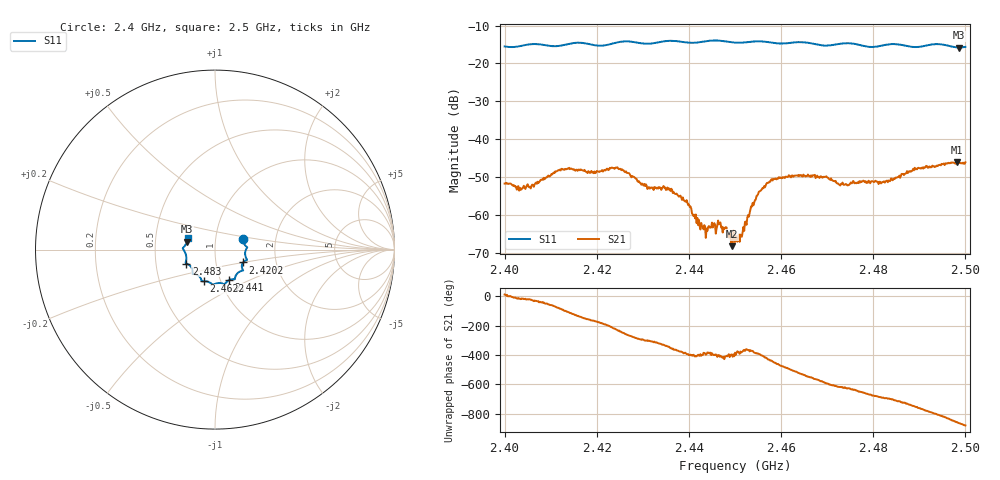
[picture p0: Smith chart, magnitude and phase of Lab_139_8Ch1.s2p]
# Hz S RI R 50
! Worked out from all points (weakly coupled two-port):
!   601 points, 2.4 GHz to 2.5 GHz, reference 50 ohm
!   highest |S21| = -46.01 dB at 2.4982 GHz (marker M1); lowest = -68.2 dB at 2.4493 GHz (marker M2)
!   lowest |S11| = -15.8 dB at 2.4987 GHz (marker M3), VSWR 1.39, Z = 36.4 + j3.28 ohm
!   |S11| at or under -10 dB: start of sweep to end of sweep
!   S12 and S22 are empty: the file has one direction only
!   S11 on the Smith chart (normalised r, x): 2.4 GHz: 1.36, +0.17; 2.4202 GHz: 1.35, -0.20; 2.441 GHz: 1.09, -0.39; 2.4622 GHz: 0.83, -0.30; 2.483 GHz: 0.72, -0.12; 2.5 GHz: 0.73, +0.09
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2.4e9  0.1564 0.0599  0.00256 0.00054  0 0  0 0
2.403667e9  0.1694 0.0217  0.00212 -0.000552  0 0  0 0
2.412e9  0.1682 -0.0305  0.000336 -0.00398  0 0  0 0
2.416667e9  0.1776 -0.0584  -0.00312 -0.00245  0 0  0 0
2.420167e9  0.1561 -0.0718  -0.00378 -0.000284  0 0  0 0
2.424667e9  0.1549 -0.1113  -0.00241 0.00333  0 0  0 0
2.433333e9  0.1129 -0.1523  0.0017 0.00147  0 0  0 0
2.437833e9  0.1045 -0.1649  0.0017 -0.000442  0 0  0 0
2.441e9  0.0768 -0.1706  0.000764 -0.000607  0 0  0 0
2.4435e9  0.0588 -0.1863  0.000626 -0.000344  0 0  0 0
2.446667e9  0.0497 -0.1933  0.000482 -0.000615  0 0  0 0
2.449333e9  0.0332 -0.1867  0.000313 -0.000234  0 0  0 0
2.45e9  0.0268 -0.186  0.000403 -0.000184  0 0  0 0
2.4515e9  0.012 -0.1877  0.000492 -0.000176  0 0  0 0
2.4555e9  -0.0121 -0.1951  0.00167 -0.00126  0 0  0 0
2.462167e9  -0.0631 -0.1763  -0.00248 -0.00196  0 0  0 0
2.466667e9  -0.0766 -0.1668  -0.00312 0.000823  0 0  0 0
2.483e9  -0.1592 -0.0781  0.0026 0.00118  0 0  0 0
2.483333e9  -0.1606 -0.0775  0.00264 0.00112  0 0  0 0
2.498167e9  -0.1582 0.0372  -0.00368 -0.0034  0 0  0 0
2.498667e9  -0.1558 0.0438  -0.00401 -0.00276  0 0  0 0
2.5e9  -0.1531 0.0626  -0.00469 -0.00167  0 0  0 0
